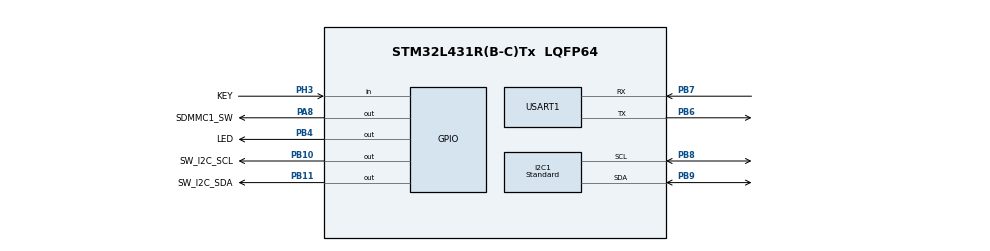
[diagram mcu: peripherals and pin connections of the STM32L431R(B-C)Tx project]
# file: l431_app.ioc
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Dma.Request0=USART1_RX
Dma.Request1=USART1_TX
Dma.USART1_RX.0.Direction=DMA_PERIPH_TO_MEMORY
Dma.USART1_RX.0.Instance=DMA2_Channel7
Dma.USART1_RX.0.MemDataAlignment=DMA_MDATAALIGN_BYTE
Dma.USART1_RX.0.MemInc=DMA_MINC_ENABLE
Dma.USART1_RX.0.Mode=DMA_CIRCULAR
Dma.USART1_RX.0.PeriphDataAlignment=DMA_PDATAALIGN_BYTE
Dma.USART1_RX.0.PeriphInc=DMA_PINC_DISABLE
Dma.USART1_RX.0.Priority=DMA_PRIORITY_LOW
Dma.USART1_TX.1.Direction=DMA_MEMORY_TO_PERIPH
Dma.USART1_TX.1.Instance=DMA2_Channel6
Dma.USART1_TX.1.MemDataAlignment=DMA_MDATAALIGN_BYTE
Dma.USART1_TX.1.MemInc=DMA_MINC_ENABLE
Dma.USART1_TX.1.Mode=DMA_NORMAL
Dma.USART1_TX.1.PeriphDataAlignment=DMA_PDATAALIGN_BYTE
Dma.USART1_TX.1.PeriphInc=DMA_PINC_DISABLE
Dma.USART1_TX.1.Priority=DMA_PRIORITY_LOW
I2C1.I2C_Speed_Mode=I2C_Standard
I2C1.Timing=0x00303D5B
IWDG.Prescaler=IWDG_PRESCALER_128
IWDG.Reload=2500
IWDG.Window=2500
Mcu.Family=STM32L4
Mcu.Name=STM32L431R(B-C)Tx
Mcu.Package=LQFP64
NVIC.DMA2_Channel6_IRQn=true\:1\:2\:false\:false\:true\:false\:true\:true
NVIC.DMA2_Channel7_IRQn=true\:1\:1\:false\:false\:true\:false\:true\:true
NVIC.I2C1_ER_IRQn=true\:0\:0\:false\:false\:true\:true\:true\:true
NVIC.I2C1_EV_IRQn=true\:0\:0\:false\:false\:true\:true\:true\:true
NVIC.PriorityGroup=NVIC_PRIORITYGROUP_2
NVIC.USART1_IRQn=true\:1\:0\:true\:false\:true\:true\:true\:true
PA13\ (JTMS-SWDIO).Mode=Serial_Wire
PA13\ (JTMS-SWDIO).Signal=SYS_JTMS-SWDIO
PA14\ (JTCK-SWCLK).Mode=Serial_Wire
PA14\ (JTCK-SWCLK).Signal=SYS_JTCK-SWCLK
PA2.Signal=QUADSPI_BK1_NCS
PA3.Signal=QUADSPI_CLK
PA6.Signal=QUADSPI_BK1_IO3
PA7.Signal=QUADSPI_BK1_IO2
PA8.GPIO_Label=SDMMC1_SW
PA8.PinState=GPIO_PIN_RESET
PA8.Signal=GPIO_Output
PB0.Signal=QUADSPI_BK1_IO1
PB1.Signal=QUADSPI_BK1_IO0
PB10.GPIO_Label=SW_I2C_SCL
PB10.GPIO_ModeDefaultOutputPP=GPIO_MODE_OUTPUT_PP
PB10.GPIO_PuPd=GPIO_PULLUP
PB10.PinState=GPIO_PIN_SET
PB10.Signal=GPIO_Output
PB11.GPIO_Label=SW_I2C_SDA
PB11.GPIO_ModeDefaultOutputPP=GPIO_MODE_OUTPUT_PP
PB11.GPIO_PuPd=GPIO_PULLUP
PB11.PinState=GPIO_PIN_SET
PB11.Signal=GPIO_Output
PB4\ (NJTRST).GPIO_Label=LED
PB4\ (NJTRST).GPIO_PuPd=GPIO_NOPULL
PB4\ (NJTRST).GPIO_Speed=GPIO_SPEED_FREQ_LOW
PB4\ (NJTRST).Signal=GPIO_Output
PB6.Mode=Asynchronous
PB6.Signal=USART1_TX
PB7.Mode=Asynchronous
PB7.Signal=USART1_RX
PB8.Mode=I2C
PB8.Signal=I2C1_SCL
PB9.Mode=I2C
PB9.Signal=I2C1_SDA
PC10.Signal=SDMMC1_D2
PC11.Signal=SDMMC1_D3
PC12.Signal=SDMMC1_CK
PC14-OSC32_IN\ (PC14).Mode=LSE-External-Oscillator
PC14-OSC32_IN\ (PC14).Signal=RCC_OSC32_IN
PC15-OSC32_OUT\ (PC15).Mode=LSE-External-Oscillator
PC15-OSC32_OUT\ (PC15).Signal=RCC_OSC32_OUT
PC8.Signal=SDMMC1_D0
PC9.Signal=SDMMC1_D1
PD2.Signal=SDMMC1_CMD
PH0-OSC_IN\ (PH0).Mode=HSE-External-Oscillator
PH0-OSC_IN\ (PH0).Signal=RCC_OSC_IN
PH1-OSC_OUT\ (PH1).Mode=HSE-External-Oscillator
PH1-OSC_OUT\ (PH1).Signal=RCC_OSC_OUT
PH3-BOOT0.GPIO_Label=KEY
PH3-BOOT0.Signal=GPIO_Input
ProjectManager.HeapSize=0x400
ProjectManager.StackSize=0x800
ProjectManager.TargetToolchain=Makefile
RCC.ADCFreq_Value=32000000
RCC.AHBFreq_Value=48000000
RCC.APB1Freq_Value=48000000
RCC.APB1TimFreq_Value=48000000
RCC.APB2Freq_Value=48000000
RCC.APB2TimFreq_Value=48000000
RCC.CortexFreq_Value=48000000
RCC.HCLKFreq_Value=48000000
RCC.HSE_VALUE=8000000
RCC.HSI48_VALUE=48000000
RCC.HSI_VALUE=16000000
RCC.I2C1CLockSelection=RCC_I2C1CLKSOURCE_HSI
RCC.I2C2CLockSelection=RCC_I2C2CLKSOURCE_HSI
RCC.MSI_VALUE=4000000
RCC.PLLN=12
RCC.PLLSourceVirtual=RCC_PLLSOURCE_HSE
RCC.SYSCLKFreq_VALUE=48000000
RCC.SYSCLKSource=RCC_SYSCLKSOURCE_PLLCLK
RCC.USART1CLockSelection=RCC_USART1CLKSOURCE_HSI
RCC.VCOOutputFreq_Value=96000000
USART1.VirtualMode-Asynchronous=VM_ASYNC
VP_CRC_VS_CRC.Mode=CRC_Activate
VP_IWDG_VS_IWDG.Mode=IWDG_Activate
board=custom

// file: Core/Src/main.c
/* USER CODE BEGIN Header */
/**
  ******************************************************************************
  * @file           : main.c
  * @brief          : Main program body
  ******************************************************************************
  * @attention
  *
  * Copyright (c) 2024 STMicroelectronics.
  * All rights reserved.
  *
  * This software is licensed under terms that can be found in the LICENSE file
  * in the root directory of this software component.
  * If no LICENSE file comes with this software, it is provided AS-IS.
  *
  ******************************************************************************
  */
/* USER CODE END Header */
#include "main.h"
#include "crc.h"
#include "dma.h"
#include "i2c.h"
#include "iwdg.h"
#include "usart.h"
#include "gpio.h"

/* USER CODE BEGIN Includes */
#include "uart_device.h"
#include "i2c_slave.h"
#include "bsp_i2c.h"
#include "param.h"
#include "task.h"
#include "update.h"
/* USER CODE END Includes */

void SystemClock_Config(void);

int main(void)
{
  /* USER CODE BEGIN 1 */
  SCB->VTOR = ADDR_BASE_APP;
  /* USER CODE END 1 */

  /* MCU Configuration--------------------------------------------------------*/

  /* Reset of all peripherals, Initializes the Flash interface and the Systick. */
  HAL_Init();

  /* Configure the system clock */
  SystemClock_Config();

  /* Initialize all configured peripherals */
  MX_GPIO_Init();
  MX_DMA_Init();
  MX_CRC_Init();
  MX_USART1_UART_Init();
  MX_IWDG_Init();
  MX_I2C1_Init();
  /* USER CODE BEGIN 2 */
  uart_config(DEV_USART1);
  i2c_slave_config();
  i2c_master_init();
  boot_param_check(1);
  /* USER CODE END 2 */

  /* Infinite loop */
  /* USER CODE BEGIN WHILE */
  sys_param_init();
  task_init();

  while (1)
  {
    // 任务事件循环
    task_loop();
    /* USER CODE END WHILE */

    /* USER CODE BEGIN 3 */
    LL_IWDG_ReloadCounter(IWDG);
  }
  /* USER CODE END 3 */
}

void SystemClock_Config(void)
{
  LL_FLASH_SetLatency(LL_FLASH_LATENCY_2);
  while(LL_FLASH_GetLatency()!= LL_FLASH_LATENCY_2)
  {
  }
  LL_PWR_SetRegulVoltageScaling(LL_PWR_REGU_VOLTAGE_SCALE1);
  while (LL_PWR_IsActiveFlag_VOS() != 0)
  {
  }
  LL_RCC_HSE_Enable();

   /* Wait till HSE is ready */
  while(LL_RCC_HSE_IsReady() != 1)
  {

  }
  LL_RCC_HSI_Enable();

   /* Wait till HSI is ready */
  while(LL_RCC_HSI_IsReady() != 1)
  {

  }
  LL_RCC_HSI_SetCalibTrimming(16);
  LL_RCC_LSI_Enable();

   /* Wait till LSI is ready */
  while(LL_RCC_LSI_IsReady() != 1)
  {

  }
  LL_RCC_PLL_ConfigDomain_SYS(LL_RCC_PLLSOURCE_HSE, LL_RCC_PLLM_DIV_1, 12, LL_RCC_PLLR_DIV_2);
  LL_RCC_PLL_EnableDomain_SYS();
  LL_RCC_PLL_Enable();

   /* Wait till PLL is ready */
  while(LL_RCC_PLL_IsReady() != 1)
  {

  }
  LL_RCC_SetSysClkSource(LL_RCC_SYS_CLKSOURCE_PLL);

   /* Wait till System clock is ready */
  while(LL_RCC_GetSysClkSource() != LL_RCC_SYS_CLKSOURCE_STATUS_PLL)
  {

  }
  LL_RCC_SetAHBPrescaler(LL_RCC_SYSCLK_DIV_1);
  LL_RCC_SetAPB1Prescaler(LL_RCC_APB1_DIV_1);
  LL_RCC_SetAPB2Prescaler(LL_RCC_APB2_DIV_1);
  LL_SetSystemCoreClock(48000000);

   /* Update the time base */
  if (HAL_InitTick (TICK_INT_PRIORITY) != HAL_OK)
  {
    Error_Handler();
  }
}

void Error_Handler(void)
{
  __disable_irq();
  while (1)
  {
  }
}
